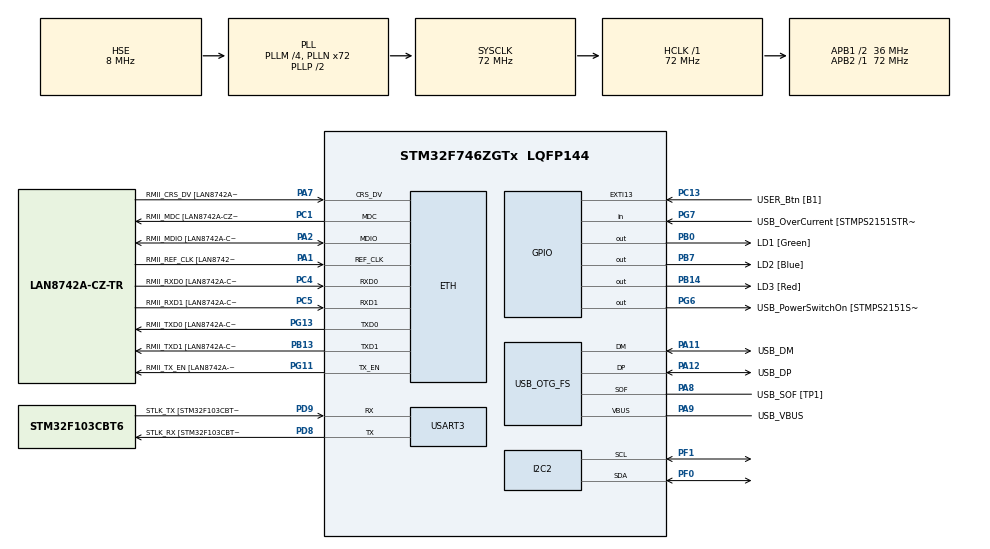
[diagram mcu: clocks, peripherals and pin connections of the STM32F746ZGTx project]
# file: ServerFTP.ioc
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ETH.MACAddr=00\:70\:07\:00\:70\:07
ETH.MediaInterface=ETH_MEDIA_INTERFACE_RMII
ETH.PHY_Name=LAN8742A_PHY_ADDRESS
ETH.PHY_Value=0
ETH.PhyAddress=0
FREERTOS.Tasks01=defaultTask,0,128,StartDefaultTask,Default,NULL
LWIP.Version=v2.0.3_Cube
Mcu.Family=STM32F7
Mcu.Name=STM32F746ZGTx
Mcu.Package=LQFP144
NVIC.ETH_IRQn=true\:5\:0\:false\:false\:true\:true\:false
NVIC.OTG_FS_IRQn=true\:5\:0\:false\:false\:true\:true\:false
NVIC.PriorityGroup=NVIC_PRIORITYGROUP_4
NVIC.TIM8_UP_TIM13_IRQn=true\:0\:0\:false\:false\:true\:false\:false
NVIC.TimeBase=TIM8_UP_TIM13_IRQn
NVIC.TimeBaseIP=TIM13
PA1.GPIO_Label=RMII_REF_CLK [LAN8742A-CZ-TR_REFCLK0]
PA1.Mode=RMII
PA1.Signal=ETH_REF_CLK
PA10.GPIO_Label=USB_ID
PA10.Signal=USB_OTG_FS_ID
PA11.GPIO_Label=USB_DM
PA11.Mode=Host_Only
PA11.Signal=USB_OTG_FS_DM
PA12.GPIO_Label=USB_DP
PA12.Mode=Host_Only
PA12.Signal=USB_OTG_FS_DP
PA13.GPIO_Label=TMS
PA13.Mode=Serial_Wire
PA13.Signal=SYS_JTMS-SWDIO
PA14.GPIO_Label=TCK
PA14.Mode=Serial_Wire
PA14.Signal=SYS_JTCK-SWCLK
PA2.GPIO_Label=RMII_MDIO [LAN8742A-CZ-TR_MDIO]
PA2.Mode=RMII
PA2.Signal=ETH_MDIO
PA7.GPIO_Label=RMII_CRS_DV [LAN8742A-CZ-TR_CRS_DV]
PA7.Mode=RMII
PA7.Signal=ETH_CRS_DV
PA8.GPIO_Label=USB_SOF [TP1]
PA8.Mode=Activate_SOF_FS
PA8.Signal=USB_OTG_FS_SOF
PA9.GPIO_Label=USB_VBUS
PA9.Mode=Activate_VBUS
PA9.Signal=USB_OTG_FS_VBUS
PB0.GPIO_Label=LD1 [Green]
PB0.Signal=GPIO_Output
PB13.GPIO_Label=RMII_TXD1 [LAN8742A-CZ-TR_TXD1]
PB13.Mode=RMII
PB13.Signal=ETH_TXD1
PB14.GPIO_Label=LD3 [Red]
PB14.Signal=GPIO_Output
PB3.GPIO_Label=SW0
PB3.Signal=SYS_JTDO-SWO
PB7.GPIO_Label=LD2 [Blue]
PB7.Signal=GPIO_Output
PB8.Signal=I2C1_SCL
PC1.GPIO_Label=RMII_MDC [LAN8742A-CZ-TR_MDC]
PC1.Mode=RMII
PC1.Signal=ETH_MDC
PC13.GPIO_Label=USER_Btn [B1]
PC13.Signal=GPXTI13
PC14/OSC32_IN.Mode=LSE-External-Oscillator
PC14/OSC32_IN.Signal=RCC_OSC32_IN
PC15/OSC32_OUT.Mode=LSE-External-Oscillator
PC15/OSC32_OUT.Signal=RCC_OSC32_OUT
PC4.GPIO_Label=RMII_RXD0 [LAN8742A-CZ-TR_RXD0]
PC4.Mode=RMII
PC4.Signal=ETH_RXD0
PC5.GPIO_Label=RMII_RXD1 [LAN8742A-CZ-TR_RXD1]
PC5.Mode=RMII
PC5.Signal=ETH_RXD1
PD8.GPIO_Label=STLK_RX [STM32F103CBT6_PA3]
PD8.Mode=Asynchronous
PD8.Signal=USART3_TX
PD9.GPIO_Label=STLK_TX [STM32F103CBT6_PA2]
PD9.Mode=Asynchronous
PD9.Signal=USART3_RX
PF0.Mode=I2C
PF0.Signal=I2C2_SDA
PF1.Mode=I2C
PF1.Signal=I2C2_SCL
PG11.GPIO_Label=RMII_TX_EN [LAN8742A-CZ-TR_TXEN]
PG11.Mode=RMII
PG11.Signal=ETH_TX_EN
PG13.GPIO_Label=RMII_TXD0 [LAN8742A-CZ-TR_TXD0]
PG13.Mode=RMII
PG13.Signal=ETH_TXD0
PG6.GPIO_Label=USB_PowerSwitchOn [STMPS2151STR_EN]
PG6.Signal=GPIO_Output
PG7.GPIO_Label=USB_OverCurrent [STMPS2151STR_FAULT]
PG7.Signal=GPIO_Input
PH0/OSC_IN.GPIO_Label=MCO [STM32F103CBT6_PA8]
PH0/OSC_IN.Mode=HSE-External-Clock-Source
PH0/OSC_IN.Signal=RCC_OSC_IN
PH1/OSC_OUT.Mode=HSE-External-Clock-Source
PH1/OSC_OUT.Signal=RCC_OSC_OUT
ProjectManager.HeapSize=0x200
ProjectManager.StackSize=0x400
ProjectManager.TargetToolchain=Makefile
RCC.48MHZClocksFreq_Value=24000000
RCC.AHBFreq_Value=72000000
RCC.APB1CLKDivider=RCC_HCLK_DIV2
RCC.APB1Freq_Value=36000000
RCC.APB1TimFreq_Value=72000000
RCC.APB2Freq_Value=72000000
RCC.APB2TimFreq_Value=72000000
RCC.CortexFreq_Value=72000000
RCC.HCLKFreq_Value=72000000
RCC.HSE_VALUE=8000000
RCC.HSI_VALUE=16000000
RCC.PLLM=4
RCC.PLLMUL=RCC_PLL_MUL9
RCC.PLLN=72
RCC.PLLQ=3
RCC.PRESCALERUSB=RCC_USBCLKSOURCE_PLL_DIV1_5
RCC.SYSCLKFreq_VALUE=72000000
RCC.SYSCLKSource=RCC_SYSCLKSOURCE_PLLCLK
RCC.SYSCLKSourceVirtual=RCC_SYSCLKSOURCE_PLLCLK
RCC.USBFreq_Value=48000000
RCC.VCOOutputFreq_Value=144000000
USART3.VirtualMode-Asynchronous=VM_ASYNC
USB_HOST.USBH_HandleTypeDef-MSC_FS=hUsbHostFS
USB_HOST.VirtualModeFS=Msc
USB_OTG_FS.VirtualMode=Host_Only
USB_OTG_FS.phy_itface=HCD_PHY_EMBEDDED
VP_FATFS_VS_USB.Mode=USB
VP_FREERTOS_VS_ENABLE.Mode=Enabled
VP_LWIP_VS_Enabled.Mode=Enabled
VP_SYS_VS_tim13.Mode=TIM13
VP_USB_HOST_VS_USB_HOST_MSC_FS.Mode=MSC_FS
board=NUCLEO-F746ZG

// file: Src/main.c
/**
  ******************************************************************************
  * @file           : main.c
  * @brief          : Main program body
  ******************************************************************************
  * This notice applies to any and all portions of this file
  * that are not between comment pairs USER CODE BEGIN and
  * USER CODE END. Other portions of this file, whether
  * inserted by the user or by software development tools
  * are owned by their respective copyright owners.
  *
  * Copyright (c) 2018 STMicroelectronics International N.V.
  * All rights reserved.
  *
  * Redistribution and use in source and binary forms, with or without
  * modification, are permitted, provided that the following conditions are met:
  *
  * 1. Redistribution of source code must retain the above copyright notice,
  *    this list of conditions and the following disclaimer.
  * 2. Redistributions in binary form must reproduce the above copyright notice,
  *    this list of conditions and the following disclaimer in the documentation
  *    and/or other materials provided with the distribution.
  * 3. Neither the name of STMicroelectronics nor the names of other
  *    contributors to this software may be used to endorse or promote products
  *    derived from this software without specific written permission.
  * 4. This software, including modifications and/or derivative works of this
  *    software, must execute solely and exclusively on microcontroller or
  *    microprocessor devices manufactured by or for STMicroelectronics.
  * 5. Redistribution and use of this software other than as permitted under
  *    this license is void and will automatically terminate your rights under
  *    this license.
  *
  * THIS SOFTWARE IS PROVIDED BY STMICROELECTRONICS AND CONTRIBUTORS "AS IS"
  * AND ANY EXPRESS, IMPLIED OR STATUTORY WARRANTIES, INCLUDING, BUT NOT
  * LIMITED TO, THE IMPLIED WARRANTIES OF MERCHANTABILITY, FITNESS FOR A
  * PARTICULAR PURPOSE AND NON-INFRINGEMENT OF THIRD PARTY INTELLECTUAL PROPERTY
  * RIGHTS ARE DISCLAIMED TO THE FULLEST EXTENT PERMITTED BY LAW. IN NO EVENT
  * SHALL STMICROELECTRONICS OR CONTRIBUTORS BE LIABLE FOR ANY DIRECT, INDIRECT,
  * INCIDENTAL, SPECIAL, EXEMPLARY, OR CONSEQUENTIAL DAMAGES (INCLUDING, BUT NOT
  * LIMITED TO, PROCUREMENT OF SUBSTITUTE GOODS OR SERVICES; LOSS OF USE, DATA,
  * OR PROFITS; OR BUSINESS INTERRUPTION) HOWEVER CAUSED AND ON ANY THEORY OF
  * LIABILITY, WHETHER IN CONTRACT, STRICT LIABILITY, OR TORT (INCLUDING
  * NEGLIGENCE OR OTHERWISE) ARISING IN ANY WAY OUT OF THE USE OF THIS SOFTWARE,
  * EVEN IF ADVISED OF THE POSSIBILITY OF SUCH DAMAGE.
  *
  ******************************************************************************
  */
#include "main.h"
#include "stm32f7xx_hal.h"
#include "cmsis_os.h"
#include "fatfs.h"
#include "lwip.h"
#include "usb_host.h"

/* USER CODE BEGIN Includes */
#include "dbgu.h"
#include "ansi.h"
#include "term_io.h"
#include "memory_access.h"
#include "ftp_server.h"
#include "client_thread.h"
#include  <errno.h>
#include  <sys/unistd.h>
#define LWIP_SO_RCVTIMEO
/* USER CODE END Includes */

I2C_HandleTypeDef hi2c2;

UART_HandleTypeDef huart3;

osThreadId defaultTaskHandle;

/* USER CODE BEGIN PV */
/* Private variables ---------------------------------------------------------*/
USBH_StatusTypeDef usbh_stat;

extern ApplicationTypeDef Appli_state;

extern USBH_HandleTypeDef hUsbHostFS;

extern const Diskio_drvTypeDef USBH_Driver;

extern struct netif gnetif;

char USBHPath[4];   /* USBH logical drive path */
FATFS USBHFatFS;    /* File system object for USBH logical drive */

//see usbh_diskio.c
extern const Diskio_drvTypeDef  USBH_Driver;

/* USER CODE END PV */

void SystemClock_Config(void);
static void MX_GPIO_Init(void);
static void MX_USART3_UART_Init(void);
static void MX_I2C2_Init(void);
void StartDefaultTask(void const * argument);
void MX_USB_HOST_Process(void);

/* USER CODE BEGIN PFP */
/* Private function prototypes -----------------------------------------------*/

/* USER CODE END PFP */

/* USER CODE BEGIN 0 */

char inkey(void)
{
    uint32_t flags = huart3.Instance->ISR;

    if((flags & UART_FLAG_RXNE) || (flags & UART_FLAG_ORE))
    {
        __HAL_UART_CLEAR_OREFLAG(&huart3);
        return (huart3.Instance->RDR);
    }
    else
        return 0;
}

unsigned int file_create_with_contents(char * fname, char * inData, uint32_t len) {
    FIL file;
    UINT ret = 0;
    FRESULT res = 0;

    f_open(&file, fname, FA_CREATE_ALWAYS | FA_WRITE);

    f_truncate(&file);

    f_write(&file, inData, len, &ret);

    f_close(&file);

    return ret;
}

/* USER CODE END 0 */

int main(void)
{

  /* MCU Configuration----------------------------------------------------------*/

  /* Reset of all peripherals, Initializes the Flash interface and the Systick. */
  HAL_Init();

  /* USER CODE BEGIN Init */
  debug_init(&huart3);
  /* USER CODE END Init */

  /* Configure the system clock */
  SystemClock_Config();

  /* Initialize all configured peripherals */
  MX_GPIO_Init();
  MX_USART3_UART_Init();
  MX_I2C2_Init();
  MX_USB_HOST_Init();

  /* Create the thread(s) */
  /* definition and creation of defaultTask */
  osThreadDef(defaultTask, StartDefaultTask, osPriorityNormal, 0, 1024);
  defaultTaskHandle = osThreadCreate(osThread(defaultTask), NULL);

  /* Start scheduler */
  osKernelStart();

  /* We should never get here as control is now taken by the scheduler */

  /* Infinite loop */
  while (1)
  {

  }

}

void SystemClock_Config(void)
{

  RCC_OscInitTypeDef RCC_OscInitStruct;
  RCC_ClkInitTypeDef RCC_ClkInitStruct;
  RCC_PeriphCLKInitTypeDef PeriphClkInitStruct;

    /**Configure the main internal regulator output voltage
    */
  __HAL_RCC_PWR_CLK_ENABLE();

  __HAL_PWR_VOLTAGESCALING_CONFIG(PWR_REGULATOR_VOLTAGE_SCALE3);

    /**Initializes the CPU, AHB and APB busses clocks
    */
  RCC_OscInitStruct.OscillatorType = RCC_OSCILLATORTYPE_HSE;
  RCC_OscInitStruct.HSEState = RCC_HSE_BYPASS;
  RCC_OscInitStruct.PLL.PLLState = RCC_PLL_ON;
  RCC_OscInitStruct.PLL.PLLSource = RCC_PLLSOURCE_HSE;
  RCC_OscInitStruct.PLL.PLLM = 4;
  RCC_OscInitStruct.PLL.PLLN = 72;
  RCC_OscInitStruct.PLL.PLLP = RCC_PLLP_DIV2;
  RCC_OscInitStruct.PLL.PLLQ = 3;
  if (HAL_RCC_OscConfig(&RCC_OscInitStruct) != HAL_OK)
  {
    _Error_Handler(__FILE__, __LINE__);
  }

    /**Initializes the CPU, AHB and APB busses clocks
    */
  RCC_ClkInitStruct.ClockType = RCC_CLOCKTYPE_HCLK|RCC_CLOCKTYPE_SYSCLK
                              |RCC_CLOCKTYPE_PCLK1|RCC_CLOCKTYPE_PCLK2;
  RCC_ClkInitStruct.SYSCLKSource = RCC_SYSCLKSOURCE_PLLCLK;
  RCC_ClkInitStruct.AHBCLKDivider = RCC_SYSCLK_DIV1;
  RCC_ClkInitStruct.APB1CLKDivider = RCC_HCLK_DIV2;
  RCC_ClkInitStruct.APB2CLKDivider = RCC_HCLK_DIV1;

  if (HAL_RCC_ClockConfig(&RCC_ClkInitStruct, FLASH_LATENCY_2) != HAL_OK)
  {
    _Error_Handler(__FILE__, __LINE__);
  }

  PeriphClkInitStruct.PeriphClockSelection = RCC_PERIPHCLK_USART3|RCC_PERIPHCLK_I2C2
                              |RCC_PERIPHCLK_CLK48;
  PeriphClkInitStruct.Usart3ClockSelection = RCC_USART3CLKSOURCE_PCLK1;
  PeriphClkInitStruct.I2c2ClockSelection = RCC_I2C2CLKSOURCE_PCLK1;
  PeriphClkInitStruct.Clk48ClockSelection = RCC_CLK48SOURCE_PLL;
  if (HAL_RCCEx_PeriphCLKConfig(&PeriphClkInitStruct) != HAL_OK)
  {
    _Error_Handler(__FILE__, __LINE__);
  }

    /**Configure the Systick interrupt time
    */
  HAL_SYSTICK_Config(HAL_RCC_GetHCLKFreq()/1000);

    /**Configure the Systick
    */
  HAL_SYSTICK_CLKSourceConfig(SYSTICK_CLKSOURCE_HCLK);

  /* SysTick_IRQn interrupt configuration */
  HAL_NVIC_SetPriority(SysTick_IRQn, 15, 0);
}

/* I2C2 init function */
static void MX_I2C2_Init(void)
{

  hi2c2.Instance = I2C2;
  hi2c2.Init.Timing = 0x00303D5B;
  hi2c2.Init.OwnAddress1 = 0;
  hi2c2.Init.AddressingMode = I2C_ADDRESSINGMODE_7BIT;
  hi2c2.Init.DualAddressMode = I2C_DUALADDRESS_DISABLE;
  hi2c2.Init.OwnAddress2 = 0;
  hi2c2.Init.OwnAddress2Masks = I2C_OA2_NOMASK;
  hi2c2.Init.GeneralCallMode = I2C_GENERALCALL_DISABLE;
  hi2c2.Init.NoStretchMode = I2C_NOSTRETCH_DISABLE;
  if (HAL_I2C_Init(&hi2c2) != HAL_OK)
  {
    _Error_Handler(__FILE__, __LINE__);
  }

    /**Configure Analogue filter
    */
  if (HAL_I2CEx_ConfigAnalogFilter(&hi2c2, I2C_ANALOGFILTER_ENABLE) != HAL_OK)
  {
    _Error_Handler(__FILE__, __LINE__);
  }

    /**Configure Digital filter
    */
  if (HAL_I2CEx_ConfigDigitalFilter(&hi2c2, 0) != HAL_OK)
  {
    _Error_Handler(__FILE__, __LINE__);
  }

}

/* USART3 init function */
static void MX_USART3_UART_Init(void)
{

  huart3.Instance = USART3;
  huart3.Init.BaudRate = 115200;
  huart3.Init.WordLength = UART_WORDLENGTH_8B;
  huart3.Init.StopBits = UART_STOPBITS_1;
  huart3.Init.Parity = UART_PARITY_NONE;
  huart3.Init.Mode = UART_MODE_TX_RX;
  huart3.Init.HwFlowCtl = UART_HWCONTROL_NONE;
  huart3.Init.OverSampling = UART_OVERSAMPLING_16;
  huart3.Init.OneBitSampling = UART_ONE_BIT_SAMPLE_DISABLE;
  huart3.AdvancedInit.AdvFeatureInit = UART_ADVFEATURE_NO_INIT;
  if (HAL_UART_Init(&huart3) != HAL_OK)
  {
    _Error_Handler(__FILE__, __LINE__);
  }

}

/** Configure pins as
        * Analog
        * Input
        * Output
        * EVENT_OUT
        * EXTI
     PB8   ------> I2C1_SCL
*/
static void MX_GPIO_Init(void)
{

  GPIO_InitTypeDef GPIO_InitStruct;

  /* GPIO Ports Clock Enable */
  __HAL_RCC_GPIOC_CLK_ENABLE();
  __HAL_RCC_GPIOF_CLK_ENABLE();
  __HAL_RCC_GPIOH_CLK_ENABLE();
  __HAL_RCC_GPIOA_CLK_ENABLE();
  __HAL_RCC_GPIOB_CLK_ENABLE();
  __HAL_RCC_GPIOD_CLK_ENABLE();
  __HAL_RCC_GPIOG_CLK_ENABLE();

  /*Configure GPIO pin Output Level */
  HAL_GPIO_WritePin(GPIOB, LD1_Pin|LD3_Pin|LD2_Pin, GPIO_PIN_RESET);

  /*Configure GPIO pin Output Level */
  HAL_GPIO_WritePin(USB_PowerSwitchOn_GPIO_Port, USB_PowerSwitchOn_Pin, GPIO_PIN_RESET);

  /*Configure GPIO pin : USER_Btn_Pin */
  GPIO_InitStruct.Pin = USER_Btn_Pin;
  GPIO_InitStruct.Mode = GPIO_MODE_IT_RISING;
  GPIO_InitStruct.Pull = GPIO_NOPULL;
  HAL_GPIO_Init(USER_Btn_GPIO_Port, &GPIO_InitStruct);

  /*Configure GPIO pins : LD1_Pin LD3_Pin LD2_Pin */
  GPIO_InitStruct.Pin = LD1_Pin|LD3_Pin|LD2_Pin;
  GPIO_InitStruct.Mode = GPIO_MODE_OUTPUT_PP;
  GPIO_InitStruct.Pull = GPIO_NOPULL;
  GPIO_InitStruct.Speed = GPIO_SPEED_FREQ_LOW;
  HAL_GPIO_Init(GPIOB, &GPIO_InitStruct);

  /*Configure GPIO pin : USB_PowerSwitchOn_Pin */
  GPIO_InitStruct.Pin = USB_PowerSwitchOn_Pin;
  GPIO_InitStruct.Mode = GPIO_MODE_OUTPUT_PP;
  GPIO_InitStruct.Pull = GPIO_NOPULL;
  GPIO_InitStruct.Speed = GPIO_SPEED_FREQ_LOW;
  HAL_GPIO_Init(USB_PowerSwitchOn_GPIO_Port, &GPIO_InitStruct);

  /*Configure GPIO pin : USB_OverCurrent_Pin */
  GPIO_InitStruct.Pin = USB_OverCurrent_Pin;
  GPIO_InitStruct.Mode = GPIO_MODE_INPUT;
  GPIO_InitStruct.Pull = GPIO_NOPULL;
  HAL_GPIO_Init(USB_OverCurrent_GPIO_Port, &GPIO_InitStruct);

  /*Configure GPIO pin : PB8 */
  GPIO_InitStruct.Pin = GPIO_PIN_8;
  GPIO_InitStruct.Mode = GPIO_MODE_AF_OD;
  GPIO_InitStruct.Pull = GPIO_PULLUP;
  GPIO_InitStruct.Speed = GPIO_SPEED_FREQ_VERY_HIGH;
  GPIO_InitStruct.Alternate = GPIO_AF4_I2C1;
  HAL_GPIO_Init(GPIOB, &GPIO_InitStruct);

}

void StartDefaultTask(void const * argument)
{
  /* init code for USB_HOST */
  MX_USB_HOST_Init();

  /* init code for FATFS */
  MX_FATFS_Init();

  /* init code for LWIP */
  MX_LWIP_Init();

  /* USER CODE BEGIN 5 */
  /* Infinite loop */
    xprintf("TEST BEGIN\n");
    HAL_GPIO_WritePin(USB_PowerSwitchOn_GPIO_Port, USB_PowerSwitchOn_Pin, GPIO_PIN_SET);
    while(Appli_state !=APPLICATION_READY){
    }
    xprintf("%s\n", USBHPath);
    FATFS *fs;

    fs = malloc(sizeof(FATFS));
    if(f_mount(fs, USBHPath, 1) != FR_OK) {
        xprintf("usb mount error\n");
        free(fs);
        return;
    }
    ftp_start();
    //ftp_start_paraller();
  while(1);
  for(;;)
      osThreadTerminate(NULL);
//
//    xprintf("TEST BEGIN\n");
//    HAL_GPIO_WritePin(USB_PowerSwitchOn_GPIO_Port, USB_PowerSwitchOn_Pin, GPIO_PIN_SET);
//    while(Appli_state !=APPLICATION_READY){
//    }
//    xprintf("%s\n", USBHPath);
//    FATFS *fs;
//
//    fs = malloc(sizeof(FATFS));
//    if(f_mount(fs, USBHPath, 1) != FR_OK) {
//        xprintf("usb mount error\n");
//        free(fs);
//        return;
//    }
//
//    mount_usb();
//    xprintf("%s\n", get_current_directory());
//    xprintf("%s\n", list_directory());
//
//    FIL *f = open_file("a2.txt");
//
//    uint16_t buf_size = 16;
//    char *buf = malloc(sizeof(char)*buf_size);
//    uint16_t rb = read_file(f, buf, buf_size);
//    xprintf("Read %u\n%s\n", rb, buf);
//    free(buf);
//
//
//    printf("TEST END\r\n");
//
//  char databuf[] = "ala ma kota";
//  while (1)
//  {
//      char key = inkey();
//      switch(key)
//      {
//          case 'a':
//              {
//                xprintf("Odebrano polecenie a\n");
//                break;
//              }
//            case 'b':
//            {
//                xprintf("Sciezka USB: %s\n",USBHPath);
//                break;
//            }
//            case 'e':
//            {
//                change_directory("0:/test");
//
//                break;
//            }
//            case 'w':
//            {
//                if(file_create_with_contents("a2.txt", databuf, 7)) {
//                    xprintf("Writing successful\n");
//                } else {
//                    xprintf("Writing failed\n");
//                }
//                break;
//            }
//          case 'd':
//          {
//              delete_file("a2.txt");
//              break;
//          }
//          case 's':
//          {
//              xprintf("Current directory: %s\n", get_current_directory());
//              xprintf("List of this directory:\n");
//              xprintf("%s\n", list_directory());
//              break;
//          }
//
//          case 'f':
//            {
//              HAL_GPIO_TogglePin(GPIOB, LD1_Pin|LD3_Pin|LD2_Pin);
//              break;
//            }
//            case 0:
//                break;
//            default:
//                xprintf("Nie rozpoznane polecenie: %c = 0x%02X\n",key,key);
//        }
//
//    }
  /* USER CODE END 5 */
}

void HAL_TIM_PeriodElapsedCallback(TIM_HandleTypeDef *htim)
{
  if (htim->Instance == TIM13) {
    HAL_IncTick();
  }
}

void _Error_Handler(char *file, int line)
{
  /* USER CODE BEGIN Error_Handler_Debug */
  xprintf("nie dziala \n");
  /* User can add his own implementation to report the HAL error return state */
  while(1)
  {
  }
  /* USER CODE END Error_Handler_Debug */
}

/************************ (C) COPYRIGHT STMicroelectronics *****END OF FILE****/
